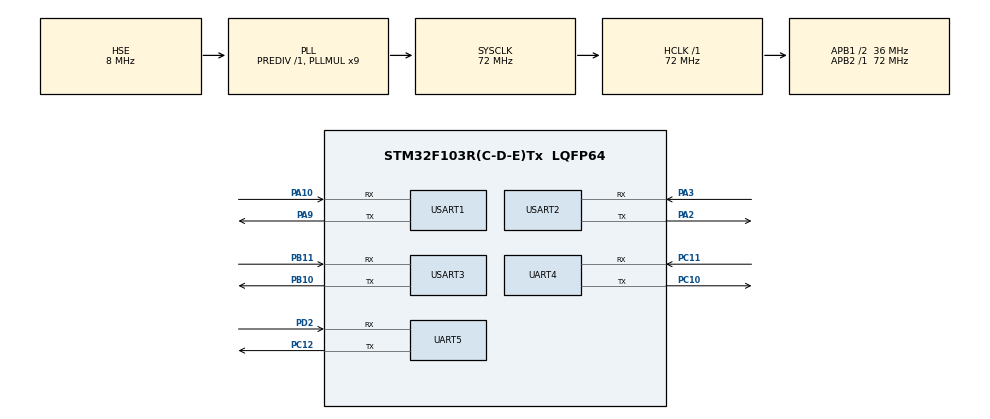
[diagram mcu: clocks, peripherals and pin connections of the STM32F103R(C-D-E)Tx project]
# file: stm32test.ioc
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Dma.Request0=USART2_RX
Dma.USART2_RX.0.Direction=DMA_PERIPH_TO_MEMORY
Dma.USART2_RX.0.Instance=DMA1_Channel6
Dma.USART2_RX.0.MemDataAlignment=DMA_MDATAALIGN_BYTE
Dma.USART2_RX.0.MemInc=DMA_MINC_ENABLE
Dma.USART2_RX.0.Mode=DMA_NORMAL
Dma.USART2_RX.0.PeriphDataAlignment=DMA_PDATAALIGN_BYTE
Dma.USART2_RX.0.PeriphInc=DMA_PINC_DISABLE
Dma.USART2_RX.0.Priority=DMA_PRIORITY_LOW
Mcu.Family=STM32F1
Mcu.Name=STM32F103R(C-D-E)Tx
Mcu.Package=LQFP64
NVIC.DMA1_Channel6_IRQn=true\:0\:0\:false\:false\:true\:false\:true
NVIC.PriorityGroup=NVIC_PRIORITYGROUP_4
NVIC.USART2_IRQn=true\:0\:0\:false\:false\:true\:true\:true
PA10.Mode=Asynchronous
PA10.Signal=USART1_RX
PA13.Mode=Serial_Wire
PA13.Signal=SYS_JTMS-SWDIO
PA14.Mode=Serial_Wire
PA14.Signal=SYS_JTCK-SWCLK
PA2.Mode=Asynchronous
PA2.Signal=USART2_TX
PA3.Mode=Asynchronous
PA3.Signal=USART2_RX
PA9.Mode=Asynchronous
PA9.Signal=USART1_TX
PB10.Mode=Asynchronous
PB10.Signal=USART3_TX
PB11.Mode=Asynchronous
PB11.Signal=USART3_RX
PC10.Mode=Asynchronous
PC10.Signal=UART4_TX
PC11.Mode=Asynchronous
PC11.Signal=UART4_RX
PC12.Mode=Asynchronous
PC12.Signal=UART5_TX
PD0-OSC_IN.Mode=HSE-External-Oscillator
PD0-OSC_IN.Signal=RCC_OSC_IN
PD1-OSC_OUT.Mode=HSE-External-Oscillator
PD1-OSC_OUT.Signal=RCC_OSC_OUT
PD2.Mode=Asynchronous
PD2.Signal=UART5_RX
ProjectManager.HeapSize=0x200
ProjectManager.StackSize=0x400
ProjectManager.TargetToolchain=Makefile
RCC.AHBFreq_Value=72000000
RCC.APB1CLKDivider=RCC_HCLK_DIV2
RCC.APB1Freq_Value=36000000
RCC.APB1TimFreq_Value=72000000
RCC.APB2Freq_Value=72000000
RCC.APB2TimFreq_Value=72000000
RCC.HCLKFreq_Value=72000000
RCC.PLLMUL=RCC_PLL_MUL9
RCC.PLLSourceVirtual=RCC_PLLSOURCE_HSE
RCC.SYSCLKFreq_VALUE=72000000
RCC.SYSCLKSource=RCC_SYSCLKSOURCE_PLLCLK
RCC.USBFreq_Value=72000000
UART4.VirtualMode=Asynchronous
UART5.VirtualMode=Asynchronous
USART1.VirtualMode=VM_ASYNC
USART2.VirtualMode=VM_ASYNC
USART3.VirtualMode=VM_ASYNC
board=custom

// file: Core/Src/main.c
/* USER CODE BEGIN Header */
/**
 ******************************************************************************
 * @file           : main.c
 * @brief          : Main program body
 ******************************************************************************
 * @attention
 *
 * <h2><center>&copy; Copyright (c) 2022 STMicroelectronics.
 * All rights reserved.</center></h2>
 *
 * This software component is licensed by ST under BSD 3-Clause license,
 * the "License"; You may not use this file except in compliance with the
 * License. You may obtain a copy of the License at:
 *                        opensource.org/licenses/BSD-3-Clause
 *
 ******************************************************************************
 */
/* USER CODE END Header */
#include "main.h"
#include "dma.h"
#include "usart.h"
#include "gpio.h"

/* USER CODE BEGIN Includes */
#include "defs.h"
#include "param.h"

/* USER CODE END Includes */

/* USER CODE BEGIN PV */
static uint8 uart_buffer[1] = {0};
/* USER CODE END PV */

void SystemClock_Config(void);

int main(void)
{

  /* MCU Configuration--------------------------------------------------------*/

  /* Reset of all peripherals, Initializes the Flash interface and the Systick. */
  HAL_Init();

  /* Configure the system clock */
  SystemClock_Config();

  /* Initialize all configured peripherals */
  MX_GPIO_Init();
  MX_USART1_UART_Init();
  MX_DMA_Init();
  MX_USART2_UART_Init();
  MX_USART3_UART_Init();
  MX_UART4_Init();
  MX_UART5_Init();
  /* USER CODE BEGIN 2 */
  servos_motormode();
  stop();

  reset_init_pos();

  uint8 operation_char; // Operation received from Zigbee

  /* USER CODE END 2 */

  /* Infinite loop */
  while (1)
  {

    /* USER CODE BEGIN 3 */

    if (HAL_UART_Receive(&huart2, uart_buffer, 1, INTERVAL) == HAL_OK)
    {
      operation_char = uart_buffer[0];
      switch (operation_char)
      {
      case 'w':
        go_forward(SPEED);
        break;
      case 'a':
        turn_left(SPEED);
        break;
      case 's':
        go_forward(-SPEED);
        break;
      case 'd':
        turn_right(SPEED);
        break;
      case 'q':
        turn_left_precise(SPEED, 0);
        break;
      case 'e':
        turn_right_precise(SPEED, 0);
        break;
      case 'z':
        reverse_turn_left(SPEED);
        break;
      case 'c':
        reverse_turn_right(SPEED);
        break;
      case '1':
        m1_left_unit();
        break;
      case '2':
        m1_right_unit();
        break;
      case '3':
        m2_forward_unit();
        break;
      case '4':
        m2_backward_unit();
        break;
      case '5':
        m3_up_unit();
        break;
      case '6':
        m3_down_unit();
        break;
      case '7':
        m4_up_unit();
        break;
      case '8':
        m4_down_unit();
        break;
      case '9':
        grab();
        break;
      case '0':
        drop();
        break;
      case '-':
        reset_init_pos();
        break;
      case '+':
        pause();
        break;
      case ' ':
        stop();
        break;

      default:
        stop();
        pause();
      }
    }
    else
    {
      stop();
      pause();
    }

    // HAL_Delay(INTERVAL);
  }
  /* USER CODE END 3 */
}

void SystemClock_Config(void)
{
  RCC_OscInitTypeDef RCC_OscInitStruct = {0};
  RCC_ClkInitTypeDef RCC_ClkInitStruct = {0};

  /** Initializes the RCC Oscillators according to the specified parameters
  * in the RCC_OscInitTypeDef structure.
  */
  RCC_OscInitStruct.OscillatorType = RCC_OSCILLATORTYPE_HSE;
  RCC_OscInitStruct.HSEState = RCC_HSE_ON;
  RCC_OscInitStruct.HSEPredivValue = RCC_HSE_PREDIV_DIV1;
  RCC_OscInitStruct.HSIState = RCC_HSI_ON;
  RCC_OscInitStruct.PLL.PLLState = RCC_PLL_ON;
  RCC_OscInitStruct.PLL.PLLSource = RCC_PLLSOURCE_HSE;
  RCC_OscInitStruct.PLL.PLLMUL = RCC_PLL_MUL9;
  if (HAL_RCC_OscConfig(&RCC_OscInitStruct) != HAL_OK)
  {
    Error_Handler();
  }
  /** Initializes the CPU, AHB and APB buses clocks
  */
  RCC_ClkInitStruct.ClockType = RCC_CLOCKTYPE_HCLK|RCC_CLOCKTYPE_SYSCLK
                              |RCC_CLOCKTYPE_PCLK1|RCC_CLOCKTYPE_PCLK2;
  RCC_ClkInitStruct.SYSCLKSource = RCC_SYSCLKSOURCE_PLLCLK;
  RCC_ClkInitStruct.AHBCLKDivider = RCC_SYSCLK_DIV1;
  RCC_ClkInitStruct.APB1CLKDivider = RCC_HCLK_DIV2;
  RCC_ClkInitStruct.APB2CLKDivider = RCC_HCLK_DIV1;

  if (HAL_RCC_ClockConfig(&RCC_ClkInitStruct, FLASH_LATENCY_2) != HAL_OK)
  {
    Error_Handler();
  }
}

void Error_Handler(void)
{
  __disable_irq();
  while (1)
  {
  }
}

/************************ (C) COPYRIGHT STMicroelectronics *****END OF FILE****/
